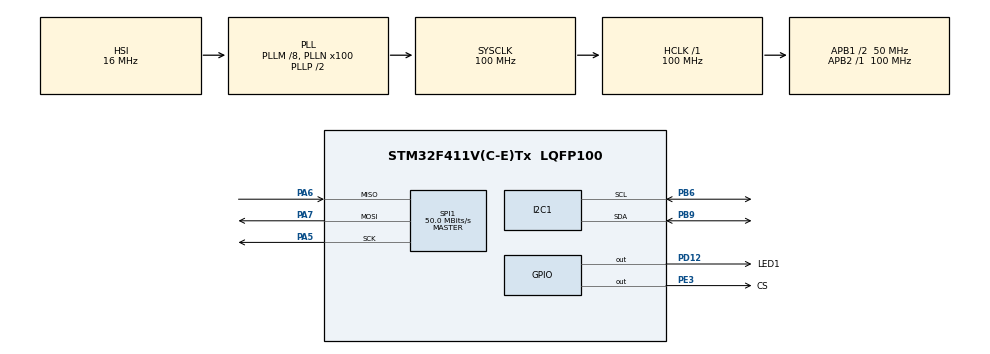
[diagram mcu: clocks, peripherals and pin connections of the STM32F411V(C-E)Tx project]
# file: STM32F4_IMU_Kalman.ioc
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I2C1.I2C_Mode=I2C_Fast
Mcu.Family=STM32F4
Mcu.Name=STM32F411V(C-E)Tx
Mcu.Package=LQFP100
NVIC.PriorityGroup=NVIC_PRIORITYGROUP_4
PA5.Mode=Full_Duplex_Master
PA5.Signal=SPI1_SCK
PA6.Mode=Full_Duplex_Master
PA6.Signal=SPI1_MISO
PA7.Mode=Full_Duplex_Master
PA7.Signal=SPI1_MOSI
PB6.Mode=I2C
PB6.Signal=I2C1_SCL
PB9.Mode=I2C
PB9.Signal=I2C1_SDA
PD12.GPIO_Label=LED1
PD12.GPIO_PuPd=GPIO_PULLDOWN
PD12.Signal=GPIO_Output
PE3.GPIO_Label=CS
PE3.GPIO_PuPd=GPIO_PULLUP
PE3.Signal=GPIO_Output
PH0\ -\ OSC_IN.Mode=HSE-External-Oscillator
PH0\ -\ OSC_IN.Signal=RCC_OSC_IN
PH1\ -\ OSC_OUT.Mode=HSE-External-Oscillator
PH1\ -\ OSC_OUT.Signal=RCC_OSC_OUT
ProjectManager.HeapSize=0x200
ProjectManager.StackSize=0x400
ProjectManager.TargetToolchain=SW4STM32
RCC.48MHZClocksFreq_Value=50000000
RCC.AHBFreq_Value=100000000
RCC.APB1CLKDivider=RCC_HCLK_DIV2
RCC.APB1Freq_Value=50000000
RCC.APB1TimFreq_Value=100000000
RCC.APB2Freq_Value=100000000
RCC.APB2TimFreq_Value=100000000
RCC.CortexFreq_Value=100000000
RCC.HCLKFreq_Value=100000000
RCC.HSE_VALUE=8000000
RCC.HSI_VALUE=16000000
RCC.LSE_VALUE=32768
RCC.PLLM=8
RCC.PLLN=100
RCC.SYSCLKFreq_VALUE=100000000
RCC.SYSCLKSource=RCC_SYSCLKSOURCE_PLLCLK
RCC.VCOOutputFreq_Value=200000000
SPI1.CalculateBaudRate=50.0 MBits/s
SPI1.Direction=SPI_DIRECTION_2LINES
SPI1.Mode=SPI_MODE_MASTER
SPI1.VirtualType=VM_MASTER
board=STM32F4_IMU_Kalman

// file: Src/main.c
/**
 ******************************************************************************
 * File Name          : main.c
 * Description        : Main program body
 ******************************************************************************
 ** This notice applies to any and all portions of this file
 * that are not between comment pairs USER CODE BEGIN and
 * USER CODE END. Other portions of this file, whether
 * inserted by the user or by software development tools
 * are owned by their respective copyright owners.
 *
 * COPYRIGHT(c) 2017 STMicroelectronics
 *
 * Redistribution and use in source and binary forms, with or without modification,
 * are permitted provided that the following conditions are met:
 *   1. Redistributions of source code must retain the above copyright notice,
 *      this list of conditions and the following disclaimer.
 *   2. Redistributions in binary form must reproduce the above copyright notice,
 *      this list of conditions and the following disclaimer in the documentation
 *      and/or other materials provided with the distribution.
 *   3. Neither the name of STMicroelectronics nor the names of its contributors
 *      may be used to endorse or promote products derived from this software
 *      without specific prior written permission.
 *
 * THIS SOFTWARE IS PROVIDED BY THE COPYRIGHT HOLDERS AND CONTRIBUTORS "AS IS"
 * AND ANY EXPRESS OR IMPLIED WARRANTIES, INCLUDING, BUT NOT LIMITED TO, THE
 * IMPLIED WARRANTIES OF MERCHANTABILITY AND FITNESS FOR A PARTICULAR PURPOSE ARE
 * DISCLAIMED. IN NO EVENT SHALL THE COPYRIGHT HOLDER OR CONTRIBUTORS BE LIABLE
 * FOR ANY DIRECT, INDIRECT, INCIDENTAL, SPECIAL, EXEMPLARY, OR CONSEQUENTIAL
 * DAMAGES (INCLUDING, BUT NOT LIMITED TO, PROCUREMENT OF SUBSTITUTE GOODS OR
 * SERVICES; LOSS OF USE, DATA, OR PROFITS; OR BUSINESS INTERRUPTION) HOWEVER
 * CAUSED AND ON ANY THEORY OF LIABILITY, WHETHER IN CONTRACT, STRICT LIABILITY,
 * OR TORT (INCLUDING NEGLIGENCE OR OTHERWISE) ARISING IN ANY WAY OUT OF THE USE
 * OF THIS SOFTWARE, EVEN IF ADVISED OF THE POSSIBILITY OF SUCH DAMAGE.
 *
 ******************************************************************************
 */
#include "main.h"
#include "stm32f4xx_hal.h"

/* USER CODE BEGIN Includes */
#include "defines.h"
#include "matrix.h"
#include <math.h>
/* USER CODE END Includes */

I2C_HandleTypeDef hi2c1;

SPI_HandleTypeDef hspi1;

/* USER CODE BEGIN PV */
/* Private variables ---------------------------------------------------------*/

float current_angle_comp;
float x_post[2], P_post[4], K[2];
float dt_mean, dt_sum, dt;

//float u[1][1] = { { 0 } };
//float x_post[2][1] = { { 0 }, { 0 } };
//float Ax[2][1] = { { 0 }, { 0 } };
//float Bu[2][1] = { { 0 }, { 0 } };
//float x_pri[2][1] = { { 0 }, { 0 } };
//float P_post[2][2] = { { 0, 0 }, { 0, 0 } };
//float AP[2][2] = { { 0, 0 }, { 0, 0 } };
//float AT[2][2] = { { 0, 0 }, { 0, 0 } };
//float APAT[2][2] = { { 0, 0 }, { 0, 0 } };
//float V[2][2] = { { 0, 0 }, { 0, 0 } };
//float P_pri[2][2] = { { 0, 0 }, { 0, 0 } };
//float y[1][1] = { { 0 } };
//float Cx[1][1] = { { 0 } };
//float eps[1][1] = { { 0 } };
//float CP[1][2] = {{0, 0}};
//float CPCT[1][1] = { { 0 } };
//float S[1][1] = { { 0 } };
//float W[1][1] = { { 0 } };
//float PCT[2][1] = { { 0 }, { 0 } };
//float S1[1][1] = { { 0 } };
//float K[2][1] = { { 0 }, { 0 } };
//float Keps[2][1] = { { 0 }, { 0 } };
//float KS[2][1] = { { 0 }, { 0 } };

/* USER CODE END PV */

void SystemClock_Config(void);
static void MX_GPIO_Init(void);
static void MX_I2C1_Init(void);
static void MX_SPI1_Init(void);

/* USER CODE BEGIN PFP */
/* Private function prototypes -----------------------------------------------*/
void read_accel_g(float* tab);
void read_gyro_omega(float* tab);
void read_gyro_raw(uint8_t* tab);
void read_accel_raw(uint8_t* tab);
uint8_t read_gyro_byte(uint8_t address);
void send_settings(uint8_t address, uint8_t settings);

void accelerometer_config(void);
void gyroscope_config(void);
void magnetometer_config(void); // TODO
/* USER CODE END PFP */

int main(void) {

	/* USER CODE BEGIN 1 */
	float u[1], Ax[2], Bu[2], x_pri[2], AP[4], AT[4], APAT[4], V[4], P_pri[4], y[1],
	Cx[1], eps[1], CP[2], CPCT[1], S[1], W[1], PCT[2], S1[1], Keps[2], KS[2], KSKT[4],
	A[4], B[2], C[2], std_dev_v, std_dev_w;

	float accel_axis_g[3], gyro_axis_omega[3], accel_angle, prev_angle_comp=0;

	uint16_t i = 0;

	uint32_t currTimeStamp = 0;
	static uint32_t prevTimeStamp = 0;

	//********************************************************
	//Change this variables:
	std_dev_v = 1.0;
	std_dev_w = 2.0;
	/* Wartosci poczatkowe filtru */
	P_post[0] = 1.0;
	P_post[1] = 0.0;
	P_post[2] = 0.0;
	P_post[3] = 1.0;
	//********************************************************

	//**************Variables initialization******************
	dt = 0.000304; //seconds
	A[0] = 1;
	A[1] = -dt;
	A[2] = 0;
	A[3] = 1;

	B[0] = dt;
	B[1] = 0;

	C[0] = 1;
	C[1] = 0;

//	V[0] = std_dev_v * std_dev_v * dt;
//	V[1] = 0;
//	V[2] = 0;
//	V[3] = std_dev_v * std_dev_v * dt;

	V[0] = 0;
	V[1] = 0;
	V[2] = 0;
	V[3] = 0;

	W[0] = std_dev_w * std_dev_w;
	//********************************************************

	/* USER CODE END 1 */

	/* MCU Configuration----------------------------------------------------------*/

	/* Reset of all peripherals, Initializes the Flash interface and the Systick. */
	HAL_Init();

	/* Configure the system clock */
	SystemClock_Config();

	/* Initialize all configured peripherals */
	MX_GPIO_Init();
	MX_I2C1_Init();
	MX_SPI1_Init();

	/* USER CODE BEGIN 2 */
	accelerometer_config();
	gyroscope_config();
	/* USER CODE END 2 */

	/* Infinite loop */
	/* USER CODE BEGIN WHILE */
	while (1) {
		currTimeStamp = HAL_GetTick();
		dt = (float) (currTimeStamp - prevTimeStamp) / 1000.0; //seconds
		prevTimeStamp = currTimeStamp;

		A[1] = -dt;
		B[0] = dt;
		read_accel_g(accel_axis_g);
		read_gyro_omega(gyro_axis_omega);

		accel_angle = atan2(accel_axis_g[0], accel_axis_g[2]) * RAD_TO_DEG;
		//Complementary filter
		current_angle_comp = 0.80
				* (prev_angle_comp + (gyro_axis_omega[1] * dt))
				+ 0.20 * accel_angle;
		prev_angle_comp = current_angle_comp;

		//Kalman filter
		//Predykcja
		/* x(t+1|t) = Ax(t|t) + Bu(t) */
		u[0] = gyro_axis_omega[1];
		matrix_2x2_mul_2x1(A, x_post, Ax);
		matrix_2x1_mul_1x1(B, u, Bu);
		matrix_2x1_add_2x1(Ax, Bu, x_pri);

		/* P(t+1|t) = AP(t|t)A^T + V */
		matrix_2x2_mul_2x2(A, P_post, AP);
		matrix_2x2_trans(A, AT);
		matrix_2x2_mul_2x2(AP, AT, APAT);
		matrix_2x2_add_2x2(APAT, V, P_pri);

		//Korekcja
		/* eps(t) = y(t) - Cx(t|t-1) */
		y[0] = accel_angle;
		matrix_1x2_mul_2x1(C, x_pri, Cx);
		eps[0] = y[0] - Cx[0];

		/* S(t) = CP(t|t-1)C^T + W */
		matrix_1x2_mul_2x2(C, P_pri, CP);
		matrix_1x2_mul_2x1(C, C, CPCT);
		S[0] = CPCT[0] + W[0];

		/* K(t) = P(t|t-1)C^TS(t)^-1 */
		matrix_2x2_mul_2x1(P_pri, C, PCT);
		S1[0] = 1.0 / S[0];
		matrix_2x1_mul_1x1(PCT, S1, K);

		/* x(t|t) = x(t|t-1) + K(t)eps(t) */
		matrix_2x1_mul_1x1(K, eps, Keps);
		matrix_2x1_add_2x1(x_pri, Keps, x_post);

		/* P(t|t) = P(t|t-1) - K(t)S(t)K(t)^T */
		matrix_2x1_mul_1x1(K, S, KS);
		matrix_2x1_mul_1x2(KS, K, KSKT);
		matrix_2x2_sub_2x2(P_pri, KSKT, P_post);

		dt_sum += dt;
		i++;
		if (i == 10000) {
			i = 0;
			dt_mean = dt_sum / 10000;
			dt_sum = 0;
		}
//		HAL_Delay(100);
		/* USER CODE END WHILE */

	}

}

/** System Clock Configuration
 */
void SystemClock_Config(void) {

	RCC_OscInitTypeDef RCC_OscInitStruct;
	RCC_ClkInitTypeDef RCC_ClkInitStruct;

	/**Configure the main internal regulator output voltage
	 */
	__HAL_RCC_PWR_CLK_ENABLE()
	;

	__HAL_PWR_VOLTAGESCALING_CONFIG(PWR_REGULATOR_VOLTAGE_SCALE1);

	/**Initializes the CPU, AHB and APB busses clocks
	 */
	RCC_OscInitStruct.OscillatorType = RCC_OSCILLATORTYPE_HSI;
	RCC_OscInitStruct.HSIState = RCC_HSI_ON;
	RCC_OscInitStruct.HSICalibrationValue = 16;
	RCC_OscInitStruct.PLL.PLLState = RCC_PLL_ON;
	RCC_OscInitStruct.PLL.PLLSource = RCC_PLLSOURCE_HSI;
	RCC_OscInitStruct.PLL.PLLM = 8;
	RCC_OscInitStruct.PLL.PLLN = 100;
	RCC_OscInitStruct.PLL.PLLP = RCC_PLLP_DIV2;
	RCC_OscInitStruct.PLL.PLLQ = 4;
	if (HAL_RCC_OscConfig(&RCC_OscInitStruct) != HAL_OK) {
		_Error_Handler(__FILE__, __LINE__);
	}

	/**Initializes the CPU, AHB and APB busses clocks
	 */
	RCC_ClkInitStruct.ClockType = RCC_CLOCKTYPE_HCLK | RCC_CLOCKTYPE_SYSCLK
			| RCC_CLOCKTYPE_PCLK1 | RCC_CLOCKTYPE_PCLK2;
	RCC_ClkInitStruct.SYSCLKSource = RCC_SYSCLKSOURCE_PLLCLK;
	RCC_ClkInitStruct.AHBCLKDivider = RCC_SYSCLK_DIV1;
	RCC_ClkInitStruct.APB1CLKDivider = RCC_HCLK_DIV2;
	RCC_ClkInitStruct.APB2CLKDivider = RCC_HCLK_DIV1;

	if (HAL_RCC_ClockConfig(&RCC_ClkInitStruct, FLASH_LATENCY_3) != HAL_OK) {
		_Error_Handler(__FILE__, __LINE__);
	}

	/**Configure the Systick interrupt time
	 */
	HAL_SYSTICK_Config(HAL_RCC_GetHCLKFreq() / 1000);

	/**Configure the Systick
	 */
	HAL_SYSTICK_CLKSourceConfig(SYSTICK_CLKSOURCE_HCLK);

	/* SysTick_IRQn interrupt configuration */
	HAL_NVIC_SetPriority(SysTick_IRQn, 0, 0);
}

/* I2C1 init function */
static void MX_I2C1_Init(void) {

	hi2c1.Instance = I2C1;
	hi2c1.Init.ClockSpeed = 400000;
	hi2c1.Init.DutyCycle = I2C_DUTYCYCLE_2;
	hi2c1.Init.OwnAddress1 = 0;
	hi2c1.Init.AddressingMode = I2C_ADDRESSINGMODE_7BIT;
	hi2c1.Init.DualAddressMode = I2C_DUALADDRESS_DISABLE;
	hi2c1.Init.OwnAddress2 = 0;
	hi2c1.Init.GeneralCallMode = I2C_GENERALCALL_DISABLE;
	hi2c1.Init.NoStretchMode = I2C_NOSTRETCH_DISABLE;
	if (HAL_I2C_Init(&hi2c1) != HAL_OK) {
		_Error_Handler(__FILE__, __LINE__);
	}

}

/* SPI1 init function */
static void MX_SPI1_Init(void) {

	hspi1.Instance = SPI1;
	hspi1.Init.Mode = SPI_MODE_MASTER;
	hspi1.Init.Direction = SPI_DIRECTION_2LINES;
	hspi1.Init.DataSize = SPI_DATASIZE_8BIT;
	hspi1.Init.CLKPolarity = SPI_POLARITY_LOW;
	hspi1.Init.CLKPhase = SPI_PHASE_1EDGE;
	hspi1.Init.NSS = SPI_NSS_SOFT;
	hspi1.Init.BaudRatePrescaler = SPI_BAUDRATEPRESCALER_2;
	hspi1.Init.FirstBit = SPI_FIRSTBIT_MSB;
	hspi1.Init.TIMode = SPI_TIMODE_DISABLE;
	hspi1.Init.CRCCalculation = SPI_CRCCALCULATION_DISABLE;
	hspi1.Init.CRCPolynomial = 10;
	if (HAL_SPI_Init(&hspi1) != HAL_OK) {
		_Error_Handler(__FILE__, __LINE__);
	}

}

/** Configure pins as
 * Analog
 * Input
 * Output
 * EVENT_OUT
 * EXTI
 */
static void MX_GPIO_Init(void) {

	GPIO_InitTypeDef GPIO_InitStruct;

	/* GPIO Ports Clock Enable */
	__HAL_RCC_GPIOE_CLK_ENABLE()
	;
	__HAL_RCC_GPIOH_CLK_ENABLE()
	;
	__HAL_RCC_GPIOA_CLK_ENABLE()
	;
	__HAL_RCC_GPIOD_CLK_ENABLE()
	;
	__HAL_RCC_GPIOB_CLK_ENABLE()
	;

	/*Configure GPIO pin Output Level */
	HAL_GPIO_WritePin(CS_GPIO_Port, CS_Pin, GPIO_PIN_RESET);

	/*Configure GPIO pin Output Level */
	HAL_GPIO_WritePin(LED1_GPIO_Port, LED1_Pin, GPIO_PIN_RESET);

	/*Configure GPIO pin : CS_Pin */
	GPIO_InitStruct.Pin = CS_Pin;
	GPIO_InitStruct.Mode = GPIO_MODE_OUTPUT_PP;
	GPIO_InitStruct.Pull = GPIO_PULLUP;
	GPIO_InitStruct.Speed = GPIO_SPEED_FREQ_LOW;
	HAL_GPIO_Init(CS_GPIO_Port, &GPIO_InitStruct);

	/*Configure GPIO pin : LED1_Pin */
	GPIO_InitStruct.Pin = LED1_Pin;
	GPIO_InitStruct.Mode = GPIO_MODE_OUTPUT_PP;
	GPIO_InitStruct.Pull = GPIO_PULLDOWN;
	GPIO_InitStruct.Speed = GPIO_SPEED_FREQ_LOW;
	HAL_GPIO_Init(LED1_GPIO_Port, &GPIO_InitStruct);

}

/* USER CODE BEGIN 4 */
void send_settings(uint8_t address, uint8_t settings) {
	CS_LOW;
	HAL_SPI_Transmit(&hspi1, &address, 1, 50);
	HAL_SPI_Transmit(&hspi1, &settings, 1, 50);
	CS_HIGH;
}

void accelerometer_config(void) {
	uint8_t settings = 0b01010111; //100Hz, XYZ axis enable
	HAL_I2C_Mem_Write(&hi2c1, LSM303_ACC_ADDRESS, LSM303_ACC_CTRL_REG1_A, 1,
			&settings, 1, 50);

	settings = 0b10000000; //data from internal filter sent to output register and FIFO, there is no gravitation vector, dunno why
	HAL_I2C_Mem_Write(&hi2c1, LSM303_ACC_ADDRESS, LSM303_ACC_CTRL_REG2_A, 1,
			&settings, 1, 50);

	settings = 0b00000000; //everything disable
	HAL_I2C_Mem_Write(&hi2c1, LSM303_ACC_ADDRESS, LSM303_ACC_CTRL_REG3_A, 1,
			&settings, 1, 50);

	settings = 0b00000000; // +/- 2G selection
	HAL_I2C_Mem_Write(&hi2c1, LSM303_ACC_ADDRESS, LSM303_ACC_CTRL_REG4_A, 1,
			&settings, 1, 50);

	settings = 0b00000000; //nothing
	HAL_I2C_Mem_Write(&hi2c1, LSM303_ACC_ADDRESS, LSM303_ACC_CTRL_REG5_A, 1,
			&settings, 1, 50);

	settings = 0b00000000; //nothing
	HAL_I2C_Mem_Write(&hi2c1, LSM303_ACC_ADDRESS, LSM303_ACC_CTRL_REG6_A, 1,
			&settings, 1, 50);
}

void gyroscope_config(void) {
	send_settings(L3GD20_REGISTER_CTRL_REG1, 0b11001111); //output data rate, XYZ axis enable
	send_settings(L3GD20_REGISTER_CTRL_REG2, 0b00000000); //high pass filter normal mode and cutoff freq
	send_settings(L3GD20_REGISTER_CTRL_REG3, 0b00000000); //nothing
	send_settings(L3GD20_REGISTER_CTRL_REG4, 0b00000000); //continous update, 250 dps
	send_settings(L3GD20_REGISTER_CTRL_REG5, 0b00010000); //high pass filter enable
}

void magnetometer_config(void) {

}

uint8_t read_gyro_byte(uint8_t address) {
	CS_LOW;
	address |= 0x80;
	uint8_t data;
	HAL_SPI_Transmit(&hspi1, &address, 1, 50);
	HAL_SPI_Receive(&hspi1, &data, 1, 50);
	CS_HIGH;
	return data;
}

void read_gyro_raw(uint8_t* tab) {
	uint8_t i, adr;
//	tab[0] = read_gyro_byte(L3GD20_REGISTER_OUT_X_L);
//	tab[1] = read_gyro_byte(L3GD20_REGISTER_OUT_X_H);
//	tab[2] = read_gyro_byte(L3GD20_REGISTER_OUT_Y_L);
//	tab[3] = read_gyro_byte(L3GD20_REGISTER_OUT_Y_H);
//	tab[4] = read_gyro_byte(L3GD20_REGISTER_OUT_Z_L);
//	tab[5] = read_gyro_byte(L3GD20_REGISTER_OUT_Z_H);
	for (i = 0, adr = L3GD20_REGISTER_OUT_X_L; i < 6; i++, adr++)
		tab[i] = read_gyro_byte(adr);
}

void read_accel_raw(uint8_t* tab) {
	HAL_I2C_Mem_Read(&hi2c1, LSM303_ACC_ADDRESS, LSM303_ACC_OUT_XYZ_MULTIREAD_A,
			1, tab, 6, 50);
}

void read_accel_g(float* tab) {
	uint8_t raw[6], i, j;
	read_accel_raw(raw);
	int16_t accel_raw[3];
	for (i = 0, j = 0; i < 3; i++, j += 2) {
		accel_raw[i] = ((raw[j + 1] << 8) | raw[j]);
		tab[i] =
				(float) ((accel_raw[i] * LSM303_ACC_SCALE) / (float) INT16_MAX);
	}
}
void read_gyro_omega(float* tab) {
	uint8_t raw[6], i, j;
	read_gyro_raw(raw);
	int16_t gyro_raw[3];
	for (i = 0, j = 0; i < 3; i++, j += 2) {
		gyro_raw[i] = ((raw[j + 1] << 8) | raw[j]);
		tab[i] = gyro_raw[i] * L3GD20_SENSITIVITY_250;
	}
}

/* USER CODE END 4 */
void _Error_Handler(char * file, int line) {
	while (1) {
	}
}

/************************ (C) COPYRIGHT STMicroelectronics *****END OF FILE****/
